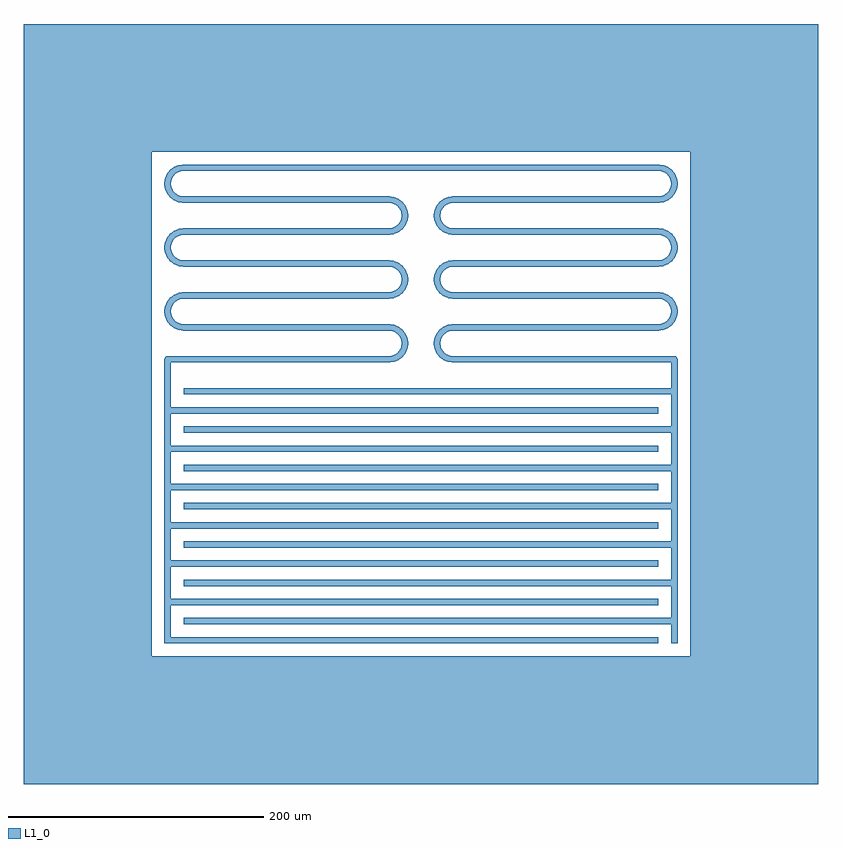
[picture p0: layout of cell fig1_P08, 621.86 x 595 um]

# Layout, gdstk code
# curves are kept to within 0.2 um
import gdstk
lib = gdstk.Library(unit=1e-6, precision=1e-09)
def R(c, l, rs):  # rectangles x0, y0, x1, y1
    for r in rs: c.add(gdstk.rectangle(r[:2], r[2:], *l))
def A(c, l, x, y, w, h, nx, ny, dx, dy):  # array of equal rectangles
    R(c, l, [(x+i*dx, y+j*dy, x+i*dx+w, y+j*dy+h) for i in range(nx) for j in range(ny)])
def P(c, l, *ps):  # polygons
    for p in ps: c.add(gdstk.Polygon(p, *l))
L1_0 = (1, 0)

fig1_p08 = lib.new_cell('fig1_P08')
A(fig1_p08, L1_0, -200.929, 0, 386.858, 5, 1, 7, 0, 30)
A(fig1_p08, L1_0, -185.929, 15, 386.858, 5, 1, 7, 0, 30)
A(fig1_p08, L1_0, -185.929, 245, 160.929, 5, 1, 5, 0, 25)
A(fig1_p08, L1_0, 25, 245, 160.929, 5, 1, 5, 0, 25)
R(fig1_p08, L1_0, [(-310.929,-110,310.929,-10), (-310.929,-10,-210.929,385), (210.929,-10,310.929,385), (-200.929,0,-195.929,200), (195.929,0,200.929,200), (-200.929,197.5,-195.929,222.5), (195.929,197.5,200.929,222.5), (-198.429,220,-25,225), (25,220,198.429,225), (-185.929,370,185.929,375), (-310.929,385,310.929,485)])
P(fig1_p08, L1_0, [(14.979,334.674),(10.021,335.326),(10.447,338.562),(15.405,337.909)],
  [(12.926,335.735),(11.158,336.467),(10.426,338.235),(11.158,340.003),(12.926,340.735),(14.694,340.003),(15.426,338.235),(14.694,336.467)],
  [(12.5,332.5),(10.732,333.232),(10,335),(10.732,336.768),(12.5,337.5),(14.268,336.768),(15,335),(14.268,333.232)],
  [(193.701,347.191),(190.657,351.158),(193.246,353.145),(196.29,349.178)],
  [(190.121,345.616),(188.208,350.236),(191.222,351.484),(193.136,346.865)],
  [(186.255,345.021),(185.603,349.979),(188.838,350.405),(189.491,345.447)],
  [(188.838,369.595),(185.603,370.021),(186.255,374.979),(189.491,374.553)],
  [(191.222,368.516),(188.208,369.764),(190.121,374.384),(193.136,373.135)],
  [(193.246,366.855),(190.657,368.842),(193.701,372.809),(196.29,370.822)],
  [(194.771,364.728),(192.784,367.317),(196.751,370.361),(198.738,367.772)],
  [(195.693,362.279),(194.445,365.293),(199.064,367.207),(200.313,364.192)],
  [(195.95,359.674),(195.524,362.909),(200.482,363.562),(200.908,360.326)],
  [(200.482,356.438),(195.524,357.091),(195.95,360.326),(200.908,359.674)],
  [(185.929,370),(184.161,370.732),(183.429,372.5),(184.161,374.268),(185.929,375),(187.697,374.268),(188.429,372.5),(187.697,370.732)],
  [(189.164,369.574),(187.396,370.306),(186.664,372.074),(187.396,373.842),(189.164,374.574),(190.932,373.842),(191.664,372.074),(190.932,370.306)],
  [(192.179,368.325),(190.411,369.058),(189.679,370.825),(190.411,372.593),(192.179,373.325),(193.947,372.593),(194.679,370.825),(193.947,369.058)],
  [(194.768,366.339),(193,367.071),(192.268,368.839),(193,370.607),(194.768,371.339),(196.536,370.607),(197.268,368.839),(196.536,367.071)],
  [(196.754,363.75),(194.987,364.482),(194.254,366.25),(194.987,368.018),(196.754,368.75),(198.522,368.018),(199.254,366.25),(198.522,364.482)],
  [(198.003,360.735),(196.235,361.467),(195.503,363.235),(196.235,365.003),(198.003,365.735),(199.771,365.003),(200.503,363.235),(199.771,361.467)],
  [(198.429,357.5),(196.661,358.232),(195.929,360),(196.661,361.768),(198.429,362.5),(200.197,361.768),(200.929,360),(200.197,358.232)],
  [(198.003,354.265),(196.235,354.997),(195.503,356.765),(196.235,358.533),(198.003,359.265),(199.771,358.533),(200.503,356.765),(199.771,354.997)],
  [(196.754,351.25),(194.987,351.982),(194.254,353.75),(194.987,355.518),(196.754,356.25),(198.522,355.518),(199.254,353.75),(198.522,351.982)],
  [(194.768,348.661),(193,349.393),(192.268,351.161),(193,352.929),(194.768,353.661),(196.536,352.929),(197.268,351.161),(196.536,349.393)],
  [(192.179,346.675),(190.411,347.407),(189.679,349.175),(190.411,350.942),(192.179,351.675),(193.947,350.942),(194.679,349.175),(193.947,347.407)],
  [(189.164,345.426),(187.396,346.158),(186.664,347.926),(187.396,349.694),(189.164,350.426),(190.932,349.694),(191.664,347.926),(190.932,346.158)],
  [(185.929,345),(184.161,345.732),(183.429,347.5),(184.161,349.268),(185.929,350),(187.697,349.268),(188.429,347.5),(187.697,345.732)],
  [(199.064,352.793),(194.445,354.707),(195.693,357.721),(200.313,355.808)],
  [(196.751,349.639),(192.784,352.683),(194.771,355.272),(198.738,352.228)],
  [(19.707,343.516),(17.793,348.135),(20.808,349.384),(22.721,344.764)],
  [(17.683,341.855),(14.639,345.822),(17.228,347.809),(20.272,343.842)],
  [(16.158,339.728),(12.191,342.772),(14.178,345.361),(18.145,342.317)],
  [(25,345),(23.232,345.732),(22.5,347.5),(23.232,349.268),(25,350),(26.768,349.268),(27.5,347.5),(26.768,345.732)],
  [(21.765,344.574),(19.997,345.306),(19.265,347.074),(19.997,348.842),(21.765,349.574),(23.533,348.842),(24.265,347.074),(23.533,345.306)],
  [(18.75,343.325),(16.982,344.058),(16.25,345.825),(16.982,347.593),(18.75,348.325),(20.518,347.593),(21.25,345.825),(20.518,344.058)],
  [(16.161,341.339),(14.393,342.071),(13.661,343.839),(14.393,345.607),(16.161,346.339),(17.929,345.607),(18.661,343.839),(17.929,342.071)],
  [(14.175,338.75),(12.407,339.482),(11.675,341.25),(12.407,343.018),(14.175,343.75),(15.942,343.018),(16.675,341.25),(15.942,339.482)],
  [(15.236,337.279),(10.616,339.192),(11.865,342.207),(16.484,340.293)],
  [(22.091,344.595),(21.438,349.553),(24.674,349.979),(25.326,345.021)],
  [(16.158,239.728),(12.191,242.772),(14.178,245.361),(18.145,242.317)],
  [(15.236,237.279),(10.616,239.192),(11.865,242.207),(16.484,240.293)],
  [(14.979,234.674),(10.021,235.326),(10.447,238.562),(15.405,237.909)],
  [(10.447,231.438),(10.021,234.674),(14.979,235.326),(15.405,232.091)],
  [(11.865,227.793),(10.616,230.808),(15.236,232.721),(16.484,229.707)],
  [(14.178,224.639),(12.191,227.228),(16.158,230.272),(18.145,227.683)],
  [(17.228,222.191),(14.639,224.178),(17.683,228.145),(20.272,226.158)],
  [(20.808,220.616),(17.793,221.865),(19.707,226.484),(22.721,225.236)],
  [(24.674,220.021),(21.438,220.447),(22.091,225.405),(25.326,224.979)],
  [(20.808,320.616),(17.793,321.865),(19.707,326.484),(22.721,325.236)],
  [(24.674,320.021),(21.438,320.447),(22.091,325.405),(25.326,324.979)],
  [(10.447,331.438),(10.021,334.674),(14.979,335.326),(15.405,332.091)],
  [(11.865,327.793),(10.616,330.808),(15.236,332.721),(16.484,329.707)],
  [(22.091,294.595),(21.438,299.553),(24.674,299.979),(25.326,295.021)],
  [(19.707,293.516),(17.793,298.135),(20.808,299.384),(22.721,294.764)],
  [(17.683,291.855),(14.639,295.822),(17.228,297.809),(20.272,293.842)],
  [(16.158,289.728),(12.191,292.772),(14.178,295.361),(18.145,292.317)],
  [(15.236,287.279),(10.616,289.192),(11.865,292.207),(16.484,290.293)],
  [(14.979,284.674),(10.021,285.326),(10.447,288.562),(15.405,287.909)],
  [(10.447,281.438),(10.021,284.674),(14.979,285.326),(15.405,282.091)],
  [(11.865,277.793),(10.616,280.808),(15.236,282.721),(16.484,279.707)],
  [(14.178,274.639),(12.191,277.228),(16.158,280.272),(18.145,277.683)],
  [(17.228,272.191),(14.639,274.178),(17.683,278.145),(20.272,276.158)],
  [(20.808,270.616),(17.793,271.865),(19.707,276.484),(22.721,275.236)],
  [(24.674,270.021),(21.438,270.447),(22.091,275.405),(25.326,274.979)],
  [(14.178,324.639),(12.191,327.228),(16.158,330.272),(18.145,327.683)],
  [(17.228,322.191),(14.639,324.178),(17.683,328.145),(20.272,326.158)],
  [(22.091,244.595),(21.438,249.553),(24.674,249.979),(25.326,245.021)],
  [(19.707,243.516),(17.793,248.135),(20.808,249.384),(22.721,244.764)],
  [(17.683,241.855),(14.639,245.822),(17.228,247.809),(20.272,243.842)],
  [(12.926,329.265),(11.158,329.997),(10.426,331.765),(11.158,333.533),(12.926,334.265),(14.694,333.533),(15.426,331.765),(14.694,329.997)],
  [(14.175,326.25),(12.407,326.982),(11.675,328.75),(12.407,330.518),(14.175,331.25),(15.942,330.518),(16.675,328.75),(15.942,326.982)],
  [(16.161,323.661),(14.393,324.393),(13.661,326.161),(14.393,327.929),(16.161,328.661),(17.929,327.929),(18.661,326.161),(17.929,324.393)],
  [(18.75,321.675),(16.982,322.407),(16.25,324.175),(16.982,325.942),(18.75,326.675),(20.518,325.942),(21.25,324.175),(20.518,322.407)],
  [(21.765,320.426),(19.997,321.158),(19.265,322.926),(19.997,324.694),(21.765,325.426),(23.533,324.694),(24.265,322.926),(23.533,321.158)],
  [(25,320),(23.232,320.732),(22.5,322.5),(23.232,324.268),(25,325),(26.768,324.268),(27.5,322.5),(26.768,320.732)],
  [(25,295),(23.232,295.732),(22.5,297.5),(23.232,299.268),(25,300),(26.768,299.268),(27.5,297.5),(26.768,295.732)],
  [(21.765,294.574),(19.997,295.306),(19.265,297.074),(19.997,298.842),(21.765,299.574),(23.533,298.842),(24.265,297.074),(23.533,295.306)],
  [(18.75,293.325),(16.982,294.058),(16.25,295.825),(16.982,297.593),(18.75,298.325),(20.518,297.593),(21.25,295.825),(20.518,294.058)],
  [(16.161,291.339),(14.393,292.071),(13.661,293.839),(14.393,295.607),(16.161,296.339),(17.929,295.607),(18.661,293.839),(17.929,292.071)],
  [(14.175,288.75),(12.407,289.482),(11.675,291.25),(12.407,293.018),(14.175,293.75),(15.942,293.018),(16.675,291.25),(15.942,289.482)],
  [(12.926,285.735),(11.158,286.467),(10.426,288.235),(11.158,290.003),(12.926,290.735),(14.694,290.003),(15.426,288.235),(14.694,286.467)],
  [(12.5,282.5),(10.732,283.232),(10,285),(10.732,286.768),(12.5,287.5),(14.268,286.768),(15,285),(14.268,283.232)],
  [(12.926,279.265),(11.158,279.997),(10.426,281.765),(11.158,283.533),(12.926,284.265),(14.694,283.533),(15.426,281.765),(14.694,279.997)],
  [(14.175,276.25),(12.407,276.982),(11.675,278.75),(12.407,280.518),(14.175,281.25),(15.942,280.518),(16.675,278.75),(15.942,276.982)],
  [(16.161,273.661),(14.393,274.393),(13.661,276.161),(14.393,277.929),(16.161,278.661),(17.929,277.929),(18.661,276.161),(17.929,274.393)],
  [(18.75,271.675),(16.982,272.407),(16.25,274.175),(16.982,275.942),(18.75,276.675),(20.518,275.942),(21.25,274.175),(20.518,272.407)],
  [(21.765,270.426),(19.997,271.158),(19.265,272.926),(19.997,274.694),(21.765,275.426),(23.533,274.694),(24.265,272.926),(23.533,271.158)],
  [(25,270),(23.232,270.732),(22.5,272.5),(23.232,274.268),(25,275),(26.768,274.268),(27.5,272.5),(26.768,270.732)],
  [(25,245),(23.232,245.732),(22.5,247.5),(23.232,249.268),(25,250),(26.768,249.268),(27.5,247.5),(26.768,245.732)],
  [(21.765,244.574),(19.997,245.306),(19.265,247.074),(19.997,248.842),(21.765,249.574),(23.533,248.842),(24.265,247.074),(23.533,245.306)],
  [(18.75,243.325),(16.982,244.058),(16.25,245.825),(16.982,247.593),(18.75,248.325),(20.518,247.593),(21.25,245.825),(20.518,244.058)],
  [(16.161,241.339),(14.393,242.071),(13.661,243.839),(14.393,245.607),(16.161,246.339),(17.929,245.607),(18.661,243.839),(17.929,242.071)],
  [(14.175,238.75),(12.407,239.482),(11.675,241.25),(12.407,243.018),(14.175,243.75),(15.942,243.018),(16.675,241.25),(15.942,239.482)],
  [(12.926,235.735),(11.158,236.467),(10.426,238.235),(11.158,240.003),(12.926,240.735),(14.694,240.003),(15.426,238.235),(14.694,236.467)],
  [(12.5,232.5),(10.732,233.232),(10,235),(10.732,236.768),(12.5,237.5),(14.268,236.768),(15,235),(14.268,233.232)],
  [(12.926,229.265),(11.158,229.997),(10.426,231.765),(11.158,233.533),(12.926,234.265),(14.694,233.533),(15.426,231.765),(14.694,229.997)],
  [(14.175,226.25),(12.407,226.982),(11.675,228.75),(12.407,230.518),(14.175,231.25),(15.942,230.518),(16.675,228.75),(15.942,226.982)],
  [(16.161,223.661),(14.393,224.393),(13.661,226.161),(14.393,227.929),(16.161,228.661),(17.929,227.929),(18.661,226.161),(17.929,224.393)],
  [(18.75,221.675),(16.982,222.407),(16.25,224.175),(16.982,225.942),(18.75,226.675),(20.518,225.942),(21.25,224.175),(20.518,222.407)],
  [(21.765,220.426),(19.997,221.158),(19.265,222.926),(19.997,224.694),(21.765,225.426),(23.533,224.694),(24.265,222.926),(23.533,221.158)],
  [(25,220),(23.232,220.732),(22.5,222.5),(23.232,224.268),(25,225),(26.768,224.268),(27.5,222.5),(26.768,220.732)],
  [(189.164,319.574),(187.396,320.306),(186.664,322.074),(187.396,323.842),(189.164,324.574),(190.932,323.842),(191.664,322.074),(190.932,320.306)],
  [(192.179,318.325),(190.411,319.058),(189.679,320.825),(190.411,322.593),(192.179,323.325),(193.947,322.593),(194.679,320.825),(193.947,319.058)],
  [(194.768,316.339),(193,317.071),(192.268,318.839),(193,320.607),(194.768,321.339),(196.536,320.607),(197.268,318.839),(196.536,317.071)],
  [(196.754,313.75),(194.987,314.482),(194.254,316.25),(194.987,318.018),(196.754,318.75),(198.522,318.018),(199.254,316.25),(198.522,314.482)],
  [(198.003,310.735),(196.235,311.467),(195.503,313.235),(196.235,315.003),(198.003,315.735),(199.771,315.003),(200.503,313.235),(199.771,311.467)],
  [(198.429,307.5),(196.661,308.232),(195.929,310),(196.661,311.768),(198.429,312.5),(200.197,311.768),(200.929,310),(200.197,308.232)],
  [(198.003,304.265),(196.235,304.997),(195.503,306.765),(196.235,308.533),(198.003,309.265),(199.771,308.533),(200.503,306.765),(199.771,304.997)],
  [(196.754,301.25),(194.987,301.982),(194.254,303.75),(194.987,305.518),(196.754,306.25),(198.522,305.518),(199.254,303.75),(198.522,301.982)],
  [(194.768,298.661),(193,299.393),(192.268,301.161),(193,302.929),(194.768,303.661),(196.536,302.929),(197.268,301.161),(196.536,299.393)],
  [(192.179,296.675),(190.411,297.407),(189.679,299.175),(190.411,300.942),(192.179,301.675),(193.947,300.942),(194.679,299.175),(193.947,297.407)],
  [(189.164,295.426),(187.396,296.158),(186.664,297.926),(187.396,299.694),(189.164,300.426),(190.932,299.694),(191.664,297.926),(190.932,296.158)],
  [(185.929,295),(184.161,295.732),(183.429,297.5),(184.161,299.268),(185.929,300),(187.697,299.268),(188.429,297.5),(187.697,295.732)],
  [(193.246,266.855),(190.657,268.842),(193.701,272.809),(196.29,270.822)],
  [(194.771,264.728),(192.784,267.317),(196.751,270.361),(198.738,267.772)],
  [(195.693,262.279),(194.445,265.293),(199.064,267.207),(200.313,264.192)],
  [(195.95,259.674),(195.524,262.909),(200.482,263.562),(200.908,260.326)],
  [(200.482,256.438),(195.524,257.091),(195.95,260.326),(200.908,259.674)],
  [(199.064,252.793),(194.445,254.707),(195.693,257.721),(200.313,255.808)],
  [(196.751,249.639),(192.784,252.683),(194.771,255.272),(198.738,252.228)],
  [(193.701,247.191),(190.657,251.158),(193.246,253.145),(196.29,249.178)],
  [(190.121,245.616),(188.208,250.236),(191.222,251.484),(193.136,246.865)],
  [(186.255,245.021),(185.603,249.979),(188.838,250.405),(189.491,245.447)],
  [(188.838,319.595),(185.603,320.021),(186.255,324.979),(189.491,324.553)],
  [(191.222,318.516),(188.208,319.764),(190.121,324.384),(193.136,323.135)],
  [(193.246,316.855),(190.657,318.842),(193.701,322.809),(196.29,320.822)],
  [(185.929,270),(184.161,270.732),(183.429,272.5),(184.161,274.268),(185.929,275),(187.697,274.268),(188.429,272.5),(187.697,270.732)],
  [(189.164,269.574),(187.396,270.306),(186.664,272.074),(187.396,273.842),(189.164,274.574),(190.932,273.842),(191.664,272.074),(190.932,270.306)],
  [(192.179,268.325),(190.411,269.058),(189.679,270.825),(190.411,272.593),(192.179,273.325),(193.947,272.593),(194.679,270.825),(193.947,269.058)],
  [(194.768,266.339),(193,267.071),(192.268,268.839),(193,270.607),(194.768,271.339),(196.536,270.607),(197.268,268.839),(196.536,267.071)],
  [(196.754,263.75),(194.987,264.482),(194.254,266.25),(194.987,268.018),(196.754,268.75),(198.522,268.018),(199.254,266.25),(198.522,264.482)],
  [(198.003,260.735),(196.235,261.467),(195.503,263.235),(196.235,265.003),(198.003,265.735),(199.771,265.003),(200.503,263.235),(199.771,261.467)],
  [(198.429,257.5),(196.661,258.232),(195.929,260),(196.661,261.768),(198.429,262.5),(200.197,261.768),(200.929,260),(200.197,258.232)],
  [(198.003,254.265),(196.235,254.997),(195.503,256.765),(196.235,258.533),(198.003,259.265),(199.771,258.533),(200.503,256.765),(199.771,254.997)],
  [(196.754,251.25),(194.987,251.982),(194.254,253.75),(194.987,255.518),(196.754,256.25),(198.522,255.518),(199.254,253.75),(198.522,251.982)],
  [(194.768,248.661),(193,249.393),(192.268,251.161),(193,252.929),(194.768,253.661),(196.536,252.929),(197.268,251.161),(196.536,249.393)],
  [(192.179,246.675),(190.411,247.407),(189.679,249.175),(190.411,250.942),(192.179,251.675),(193.947,250.942),(194.679,249.175),(193.947,247.407)],
  [(189.164,245.426),(187.396,246.158),(186.664,247.926),(187.396,249.694),(189.164,250.426),(190.932,249.694),(191.664,247.926),(190.932,246.158)],
  [(185.929,245),(184.161,245.732),(183.429,247.5),(184.161,249.268),(185.929,250),(187.697,249.268),(188.429,247.5),(187.697,245.732)],
  [(194.771,314.728),(192.784,317.317),(196.751,320.361),(198.738,317.772)],
  [(195.693,312.279),(194.445,315.293),(199.064,317.207),(200.313,314.192)],
  [(195.95,309.674),(195.524,312.909),(200.482,313.562),(200.908,310.326)],
  [(200.482,306.438),(195.524,307.091),(195.95,310.326),(200.908,309.674)],
  [(199.064,302.793),(194.445,304.707),(195.693,307.721),(200.313,305.808)],
  [(196.751,299.639),(192.784,302.683),(194.771,305.272),(198.738,302.228)],
  [(193.701,297.191),(190.657,301.158),(193.246,303.145),(196.29,299.178)],
  [(190.121,295.616),(188.208,300.236),(191.222,301.484),(193.136,296.865)],
  [(186.255,295.021),(185.603,299.979),(188.838,300.405),(189.491,295.447)],
  [(188.838,269.595),(185.603,270.021),(186.255,274.979),(189.491,274.553)],
  [(191.222,268.516),(188.208,269.764),(190.121,274.384),(193.136,273.135)],
  [(185.929,320),(184.161,320.732),(183.429,322.5),(184.161,324.268),(185.929,325),(187.697,324.268),(188.429,322.5),(187.697,320.732)],
  [(198.429,220),(196.661,220.732),(195.929,222.5),(196.661,224.268),(198.429,225),(200.197,224.268),(200.929,222.5),(200.197,220.732)],
  [(-12.5,332.5),(-14.268,333.232),(-15,335),(-14.268,336.768),(-12.5,337.5),(-10.732,336.768),(-10,335),(-10.732,333.232)],
  [(-12.926,335.735),(-14.694,336.467),(-15.426,338.235),(-14.694,340.003),(-12.926,340.735),(-11.158,340.003),(-10.426,338.235),(-11.158,336.467)],
  [(-14.979,334.674),(-15.405,337.909),(-10.447,338.562),(-10.021,335.326)],
  [(-18.75,343.325),(-20.518,344.058),(-21.25,345.825),(-20.518,347.593),(-18.75,348.325),(-16.982,347.593),(-16.25,345.825),(-16.982,344.058)],
  [(-21.765,344.574),(-23.533,345.306),(-24.265,347.074),(-23.533,348.842),(-21.765,349.574),(-19.997,348.842),(-19.265,347.074),(-19.997,345.306)],
  [(-25,345),(-26.768,345.732),(-27.5,347.5),(-26.768,349.268),(-25,350),(-23.232,349.268),(-22.5,347.5),(-23.232,345.732)],
  [(-14.175,338.75),(-15.942,339.482),(-16.675,341.25),(-15.942,343.018),(-14.175,343.75),(-12.407,343.018),(-11.675,341.25),(-12.407,339.482)],
  [(-15.236,337.279),(-16.484,340.293),(-11.865,342.207),(-10.616,339.192)],
  [(-16.158,339.728),(-18.145,342.317),(-14.178,345.361),(-12.191,342.772)],
  [(-17.683,341.855),(-20.272,343.842),(-17.228,347.809),(-14.639,345.822)],
  [(-19.707,343.516),(-22.721,344.764),(-20.808,349.384),(-17.793,348.135)],
  [(-22.091,344.595),(-25.326,345.021),(-24.674,349.979),(-21.438,349.553)],
  [(-16.161,341.339),(-17.929,342.071),(-18.661,343.839),(-17.929,345.607),(-16.161,346.339),(-14.393,345.607),(-13.661,343.839),(-14.393,342.071)],
  [(-185.929,370),(-187.697,370.732),(-188.429,372.5),(-187.697,374.268),(-185.929,375),(-184.161,374.268),(-183.429,372.5),(-184.161,370.732)],
  [(-185.929,345),(-187.697,345.732),(-188.429,347.5),(-187.697,349.268),(-185.929,350),(-184.161,349.268),(-183.429,347.5),(-184.161,345.732)],
  [(-189.164,345.426),(-190.932,346.158),(-191.664,347.926),(-190.932,349.694),(-189.164,350.426),(-187.396,349.694),(-186.664,347.926),(-187.396,346.158)],
  [(-192.179,346.675),(-193.947,347.407),(-194.679,349.175),(-193.947,350.942),(-192.179,351.675),(-190.411,350.942),(-189.679,349.175),(-190.411,347.407)],
  [(-194.768,348.661),(-196.536,349.393),(-197.268,351.161),(-196.536,352.929),(-194.768,353.661),(-193,352.929),(-192.268,351.161),(-193,349.393)],
  [(-196.754,351.25),(-198.522,351.982),(-199.254,353.75),(-198.522,355.518),(-196.754,356.25),(-194.987,355.518),(-194.254,353.75),(-194.987,351.982)],
  [(-198.003,354.265),(-199.771,354.997),(-200.503,356.765),(-199.771,358.533),(-198.003,359.265),(-196.235,358.533),(-195.503,356.765),(-196.235,354.997)],
  [(-198.429,357.5),(-200.197,358.232),(-200.929,360),(-200.197,361.768),(-198.429,362.5),(-196.661,361.768),(-195.929,360),(-196.661,358.232)],
  [(-198.003,360.735),(-199.771,361.467),(-200.503,363.235),(-199.771,365.003),(-198.003,365.735),(-196.235,365.003),(-195.503,363.235),(-196.235,361.467)],
  [(-196.754,363.75),(-198.522,364.482),(-199.254,366.25),(-198.522,368.018),(-196.754,368.75),(-194.987,368.018),(-194.254,366.25),(-194.987,364.482)],
  [(-194.768,366.339),(-196.536,367.071),(-197.268,368.839),(-196.536,370.607),(-194.768,371.339),(-193,370.607),(-192.268,368.839),(-193,367.071)],
  [(-192.179,368.325),(-193.947,369.058),(-194.679,370.825),(-193.947,372.593),(-192.179,373.325),(-190.411,372.593),(-189.679,370.825),(-190.411,369.058)],
  [(-189.164,369.574),(-190.932,370.306),(-191.664,372.074),(-190.932,373.842),(-189.164,374.574),(-187.396,373.842),(-186.664,372.074),(-187.396,370.306)],
  [(-186.255,345.021),(-189.491,345.447),(-188.838,350.405),(-185.603,349.979)],
  [(-190.121,345.616),(-193.136,346.865),(-191.222,351.484),(-188.208,350.236)],
  [(-193.701,347.191),(-196.29,349.178),(-193.246,353.145),(-190.657,351.158)],
  [(-196.751,349.639),(-198.738,352.228),(-194.771,355.272),(-192.784,352.683)],
  [(-199.064,352.793),(-200.313,355.808),(-195.693,357.721),(-194.445,354.707)],
  [(-200.482,356.438),(-200.908,359.674),(-195.95,360.326),(-195.524,357.091)],
  [(-195.95,359.674),(-200.908,360.326),(-200.482,363.562),(-195.524,362.909)],
  [(-195.693,362.279),(-200.313,364.192),(-199.064,367.207),(-194.445,365.293)],
  [(-194.771,364.728),(-198.738,367.772),(-196.751,370.361),(-192.784,367.317)],
  [(-193.246,366.855),(-196.29,370.822),(-193.701,372.809),(-190.657,368.842)],
  [(-191.222,368.516),(-193.136,373.135),(-190.121,374.384),(-188.208,369.764)],
  [(-188.838,369.595),(-189.491,374.553),(-186.255,374.979),(-185.603,370.021)],
  [(-194.768,298.661),(-196.536,299.393),(-197.268,301.161),(-196.536,302.929),(-194.768,303.661),(-193,302.929),(-192.268,301.161),(-193,299.393)],
  [(-196.754,301.25),(-198.522,301.982),(-199.254,303.75),(-198.522,305.518),(-196.754,306.25),(-194.987,305.518),(-194.254,303.75),(-194.987,301.982)],
  [(-198.003,304.265),(-199.771,304.997),(-200.503,306.765),(-199.771,308.533),(-198.003,309.265),(-196.235,308.533),(-195.503,306.765),(-196.235,304.997)],
  [(-198.429,307.5),(-200.197,308.232),(-200.929,310),(-200.197,311.768),(-198.429,312.5),(-196.661,311.768),(-195.929,310),(-196.661,308.232)],
  [(-198.003,310.735),(-199.771,311.467),(-200.503,313.235),(-199.771,315.003),(-198.003,315.735),(-196.235,315.003),(-195.503,313.235),(-196.235,311.467)],
  [(-186.255,245.021),(-189.491,245.447),(-188.838,250.405),(-185.603,249.979)],
  [(-190.121,245.616),(-193.136,246.865),(-191.222,251.484),(-188.208,250.236)],
  [(-193.701,247.191),(-196.29,249.178),(-193.246,253.145),(-190.657,251.158)],
  [(-196.751,249.639),(-198.738,252.228),(-194.771,255.272),(-192.784,252.683)],
  [(-199.064,252.793),(-200.313,255.808),(-195.693,257.721),(-194.445,254.707)],
  [(-200.482,256.438),(-200.908,259.674),(-195.95,260.326),(-195.524,257.091)],
  [(-195.95,259.674),(-200.908,260.326),(-200.482,263.562),(-195.524,262.909)],
  [(-195.693,262.279),(-200.313,264.192),(-199.064,267.207),(-194.445,265.293)],
  [(-194.771,264.728),(-198.738,267.772),(-196.751,270.361),(-192.784,267.317)],
  [(-193.246,266.855),(-196.29,270.822),(-193.701,272.809),(-190.657,268.842)],
  [(-191.222,268.516),(-193.136,273.135),(-190.121,274.384),(-188.208,269.764)],
  [(-188.838,269.595),(-189.491,274.553),(-186.255,274.979),(-185.603,270.021)],
  [(-196.754,313.75),(-198.522,314.482),(-199.254,316.25),(-198.522,318.018),(-196.754,318.75),(-194.987,318.018),(-194.254,316.25),(-194.987,314.482)],
  [(-194.768,316.339),(-196.536,317.071),(-197.268,318.839),(-196.536,320.607),(-194.768,321.339),(-193,320.607),(-192.268,318.839),(-193,317.071)],
  [(-186.255,295.021),(-189.491,295.447),(-188.838,300.405),(-185.603,299.979)],
  [(-190.121,295.616),(-193.136,296.865),(-191.222,301.484),(-188.208,300.236)],
  [(-193.701,297.191),(-196.29,299.178),(-193.246,303.145),(-190.657,301.158)],
  [(-196.751,299.639),(-198.738,302.228),(-194.771,305.272),(-192.784,302.683)],
  [(-199.064,302.793),(-200.313,305.808),(-195.693,307.721),(-194.445,304.707)],
  [(-200.482,306.438),(-200.908,309.674),(-195.95,310.326),(-195.524,307.091)],
  [(-195.95,309.674),(-200.908,310.326),(-200.482,313.562),(-195.524,312.909)],
  [(-195.693,312.279),(-200.313,314.192),(-199.064,317.207),(-194.445,315.293)],
  [(-194.771,314.728),(-198.738,317.772),(-196.751,320.361),(-192.784,317.317)],
  [(-193.246,316.855),(-196.29,320.822),(-193.701,322.809),(-190.657,318.842)],
  [(-191.222,318.516),(-193.136,323.135),(-190.121,324.384),(-188.208,319.764)],
  [(-188.838,319.595),(-189.491,324.553),(-186.255,324.979),(-185.603,320.021)],
  [(-192.179,318.325),(-193.947,319.058),(-194.679,320.825),(-193.947,322.593),(-192.179,323.325),(-190.411,322.593),(-189.679,320.825),(-190.411,319.058)],
  [(-189.164,319.574),(-190.932,320.306),(-191.664,322.074),(-190.932,323.842),(-189.164,324.574),(-187.396,323.842),(-186.664,322.074),(-187.396,320.306)],
  [(-185.929,320),(-187.697,320.732),(-188.429,322.5),(-187.697,324.268),(-185.929,325),(-184.161,324.268),(-183.429,322.5),(-184.161,320.732)],
  [(-198.429,220),(-200.197,220.732),(-200.929,222.5),(-200.197,224.268),(-198.429,225),(-196.661,224.268),(-195.929,222.5),(-196.661,220.732)],
  [(-185.929,245),(-187.697,245.732),(-188.429,247.5),(-187.697,249.268),(-185.929,250),(-184.161,249.268),(-183.429,247.5),(-184.161,245.732)],
  [(-189.164,245.426),(-190.932,246.158),(-191.664,247.926),(-190.932,249.694),(-189.164,250.426),(-187.396,249.694),(-186.664,247.926),(-187.396,246.158)],
  [(-192.179,246.675),(-193.947,247.407),(-194.679,249.175),(-193.947,250.942),(-192.179,251.675),(-190.411,250.942),(-189.679,249.175),(-190.411,247.407)],
  [(-194.768,248.661),(-196.536,249.393),(-197.268,251.161),(-196.536,252.929),(-194.768,253.661),(-193,252.929),(-192.268,251.161),(-193,249.393)],
  [(-196.754,251.25),(-198.522,251.982),(-199.254,253.75),(-198.522,255.518),(-196.754,256.25),(-194.987,255.518),(-194.254,253.75),(-194.987,251.982)],
  [(-198.003,254.265),(-199.771,254.997),(-200.503,256.765),(-199.771,258.533),(-198.003,259.265),(-196.235,258.533),(-195.503,256.765),(-196.235,254.997)],
  [(-198.429,257.5),(-200.197,258.232),(-200.929,260),(-200.197,261.768),(-198.429,262.5),(-196.661,261.768),(-195.929,260),(-196.661,258.232)],
  [(-198.003,260.735),(-199.771,261.467),(-200.503,263.235),(-199.771,265.003),(-198.003,265.735),(-196.235,265.003),(-195.503,263.235),(-196.235,261.467)],
  [(-196.754,263.75),(-198.522,264.482),(-199.254,266.25),(-198.522,268.018),(-196.754,268.75),(-194.987,268.018),(-194.254,266.25),(-194.987,264.482)],
  [(-194.768,266.339),(-196.536,267.071),(-197.268,268.839),(-196.536,270.607),(-194.768,271.339),(-193,270.607),(-192.268,268.839),(-193,267.071)],
  [(-192.179,268.325),(-193.947,269.058),(-194.679,270.825),(-193.947,272.593),(-192.179,273.325),(-190.411,272.593),(-189.679,270.825),(-190.411,269.058)],
  [(-189.164,269.574),(-190.932,270.306),(-191.664,272.074),(-190.932,273.842),(-189.164,274.574),(-187.396,273.842),(-186.664,272.074),(-187.396,270.306)],
  [(-185.929,270),(-187.697,270.732),(-188.429,272.5),(-187.697,274.268),(-185.929,275),(-184.161,274.268),(-183.429,272.5),(-184.161,270.732)],
  [(-185.929,295),(-187.697,295.732),(-188.429,297.5),(-187.697,299.268),(-185.929,300),(-184.161,299.268),(-183.429,297.5),(-184.161,295.732)],
  [(-189.164,295.426),(-190.932,296.158),(-191.664,297.926),(-190.932,299.694),(-189.164,300.426),(-187.396,299.694),(-186.664,297.926),(-187.396,296.158)],
  [(-192.179,296.675),(-193.947,297.407),(-194.679,299.175),(-193.947,300.942),(-192.179,301.675),(-190.411,300.942),(-189.679,299.175),(-190.411,297.407)],
  [(-25,245),(-26.768,245.732),(-27.5,247.5),(-26.768,249.268),(-25,250),(-23.232,249.268),(-22.5,247.5),(-23.232,245.732)],
  [(-25,320),(-26.768,320.732),(-27.5,322.5),(-26.768,324.268),(-25,325),(-23.232,324.268),(-22.5,322.5),(-23.232,320.732)],
  [(-21.765,320.426),(-23.533,321.158),(-24.265,322.926),(-23.533,324.694),(-21.765,325.426),(-19.997,324.694),(-19.265,322.926),(-19.997,321.158)],
  [(-18.75,321.675),(-20.518,322.407),(-21.25,324.175),(-20.518,325.942),(-18.75,326.675),(-16.982,325.942),(-16.25,324.175),(-16.982,322.407)],
  [(-16.161,323.661),(-17.929,324.393),(-18.661,326.161),(-17.929,327.929),(-16.161,328.661),(-14.393,327.929),(-13.661,326.161),(-14.393,324.393)],
  [(-14.175,326.25),(-15.942,326.982),(-16.675,328.75),(-15.942,330.518),(-14.175,331.25),(-12.407,330.518),(-11.675,328.75),(-12.407,326.982)],
  [(-12.926,329.265),(-14.694,329.997),(-15.426,331.765),(-14.694,333.533),(-12.926,334.265),(-11.158,333.533),(-10.426,331.765),(-11.158,329.997)],
  [(-25,270),(-26.768,270.732),(-27.5,272.5),(-26.768,274.268),(-25,275),(-23.232,274.268),(-22.5,272.5),(-23.232,270.732)],
  [(-21.765,270.426),(-23.533,271.158),(-24.265,272.926),(-23.533,274.694),(-21.765,275.426),(-19.997,274.694),(-19.265,272.926),(-19.997,271.158)],
  [(-18.75,271.675),(-20.518,272.407),(-21.25,274.175),(-20.518,275.942),(-18.75,276.675),(-16.982,275.942),(-16.25,274.175),(-16.982,272.407)],
  [(-16.161,273.661),(-17.929,274.393),(-18.661,276.161),(-17.929,277.929),(-16.161,278.661),(-14.393,277.929),(-13.661,276.161),(-14.393,274.393)],
  [(-24.674,270.021),(-25.326,274.979),(-22.091,275.405),(-21.438,270.447)],
  [(-20.808,270.616),(-22.721,275.236),(-19.707,276.484),(-17.793,271.865)],
  [(-17.228,272.191),(-20.272,276.158),(-17.683,278.145),(-14.639,274.178)],
  [(-14.178,274.639),(-18.145,277.683),(-16.158,280.272),(-12.191,277.228)],
  [(-11.865,277.793),(-16.484,279.707),(-15.236,282.721),(-10.616,280.808)],
  [(-10.447,281.438),(-15.405,282.091),(-14.979,285.326),(-10.021,284.674)],
  [(-14.979,284.674),(-15.405,287.909),(-10.447,288.562),(-10.021,285.326)],
  [(-15.236,287.279),(-16.484,290.293),(-11.865,292.207),(-10.616,289.192)],
  [(-16.158,289.728),(-18.145,292.317),(-14.178,295.361),(-12.191,292.772)],
  [(-17.683,291.855),(-20.272,293.842),(-17.228,297.809),(-14.639,295.822)],
  [(-19.707,293.516),(-22.721,294.764),(-20.808,299.384),(-17.793,298.135)],
  [(-22.091,294.595),(-25.326,295.021),(-24.674,299.979),(-21.438,299.553)],
  [(-14.175,276.25),(-15.942,276.982),(-16.675,278.75),(-15.942,280.518),(-14.175,281.25),(-12.407,280.518),(-11.675,278.75),(-12.407,276.982)],
  [(-12.926,279.265),(-14.694,279.997),(-15.426,281.765),(-14.694,283.533),(-12.926,284.265),(-11.158,283.533),(-10.426,281.765),(-11.158,279.997)],
  [(-12.5,282.5),(-14.268,283.232),(-15,285),(-14.268,286.768),(-12.5,287.5),(-10.732,286.768),(-10,285),(-10.732,283.232)],
  [(-12.926,285.735),(-14.694,286.467),(-15.426,288.235),(-14.694,290.003),(-12.926,290.735),(-11.158,290.003),(-10.426,288.235),(-11.158,286.467)],
  [(-14.175,288.75),(-15.942,289.482),(-16.675,291.25),(-15.942,293.018),(-14.175,293.75),(-12.407,293.018),(-11.675,291.25),(-12.407,289.482)],
  [(-16.161,291.339),(-17.929,292.071),(-18.661,293.839),(-17.929,295.607),(-16.161,296.339),(-14.393,295.607),(-13.661,293.839),(-14.393,292.071)],
  [(-18.75,293.325),(-20.518,294.058),(-21.25,295.825),(-20.518,297.593),(-18.75,298.325),(-16.982,297.593),(-16.25,295.825),(-16.982,294.058)],
  [(-21.765,294.574),(-23.533,295.306),(-24.265,297.074),(-23.533,298.842),(-21.765,299.574),(-19.997,298.842),(-19.265,297.074),(-19.997,295.306)],
  [(-25,295),(-26.768,295.732),(-27.5,297.5),(-26.768,299.268),(-25,300),(-23.232,299.268),(-22.5,297.5),(-23.232,295.732)],
  [(-25,220),(-26.768,220.732),(-27.5,222.5),(-26.768,224.268),(-25,225),(-23.232,224.268),(-22.5,222.5),(-23.232,220.732)],
  [(-21.765,220.426),(-23.533,221.158),(-24.265,222.926),(-23.533,224.694),(-21.765,225.426),(-19.997,224.694),(-19.265,222.926),(-19.997,221.158)],
  [(-18.75,221.675),(-20.518,222.407),(-21.25,224.175),(-20.518,225.942),(-18.75,226.675),(-16.982,225.942),(-16.25,224.175),(-16.982,222.407)],
  [(-16.161,223.661),(-17.929,224.393),(-18.661,226.161),(-17.929,227.929),(-16.161,228.661),(-14.393,227.929),(-13.661,226.161),(-14.393,224.393)],
  [(-14.175,226.25),(-15.942,226.982),(-16.675,228.75),(-15.942,230.518),(-14.175,231.25),(-12.407,230.518),(-11.675,228.75),(-12.407,226.982)],
  [(-24.674,320.021),(-25.326,324.979),(-22.091,325.405),(-21.438,320.447)],
  [(-20.808,320.616),(-22.721,325.236),(-19.707,326.484),(-17.793,321.865)],
  [(-17.228,322.191),(-20.272,326.158),(-17.683,328.145),(-14.639,324.178)],
  [(-14.178,324.639),(-18.145,327.683),(-16.158,330.272),(-12.191,327.228)],
  [(-11.865,327.793),(-16.484,329.707),(-15.236,332.721),(-10.616,330.808)],
  [(-10.447,331.438),(-15.405,332.091),(-14.979,335.326),(-10.021,334.674)],
  [(-12.926,229.265),(-14.694,229.997),(-15.426,231.765),(-14.694,233.533),(-12.926,234.265),(-11.158,233.533),(-10.426,231.765),(-11.158,229.997)],
  [(-12.5,232.5),(-14.268,233.232),(-15,235),(-14.268,236.768),(-12.5,237.5),(-10.732,236.768),(-10,235),(-10.732,233.232)],
  [(-12.926,235.735),(-14.694,236.467),(-15.426,238.235),(-14.694,240.003),(-12.926,240.735),(-11.158,240.003),(-10.426,238.235),(-11.158,236.467)],
  [(-14.175,238.75),(-15.942,239.482),(-16.675,241.25),(-15.942,243.018),(-14.175,243.75),(-12.407,243.018),(-11.675,241.25),(-12.407,239.482)],
  [(-24.674,220.021),(-25.326,224.979),(-22.091,225.405),(-21.438,220.447)],
  [(-20.808,220.616),(-22.721,225.236),(-19.707,226.484),(-17.793,221.865)],
  [(-17.228,222.191),(-20.272,226.158),(-17.683,228.145),(-14.639,224.178)],
  [(-14.178,224.639),(-18.145,227.683),(-16.158,230.272),(-12.191,227.228)],
  [(-11.865,227.793),(-16.484,229.707),(-15.236,232.721),(-10.616,230.808)],
  [(-10.447,231.438),(-15.405,232.091),(-14.979,235.326),(-10.021,234.674)],
  [(-14.979,234.674),(-15.405,237.909),(-10.447,238.562),(-10.021,235.326)],
  [(-15.236,237.279),(-16.484,240.293),(-11.865,242.207),(-10.616,239.192)],
  [(-16.158,239.728),(-18.145,242.317),(-14.178,245.361),(-12.191,242.772)],
  [(-17.683,241.855),(-20.272,243.842),(-17.228,247.809),(-14.639,245.822)],
  [(-19.707,243.516),(-22.721,244.764),(-20.808,249.384),(-17.793,248.135)],
  [(-22.091,244.595),(-25.326,245.021),(-24.674,249.979),(-21.438,249.553)],
  [(-16.161,241.339),(-17.929,242.071),(-18.661,243.839),(-17.929,245.607),(-16.161,246.339),(-14.393,245.607),(-13.661,243.839),(-14.393,242.071)],
  [(-18.75,243.325),(-20.518,244.058),(-21.25,245.825),(-20.518,247.593),(-18.75,248.325),(-16.982,247.593),(-16.25,245.825),(-16.982,244.058)],
  [(-21.765,244.574),(-23.533,245.306),(-24.265,247.074),(-23.533,248.842),(-21.765,249.574),(-19.997,248.842),(-19.265,247.074),(-19.997,245.306)])

lib.write_gds('fig1_P08.gds')
